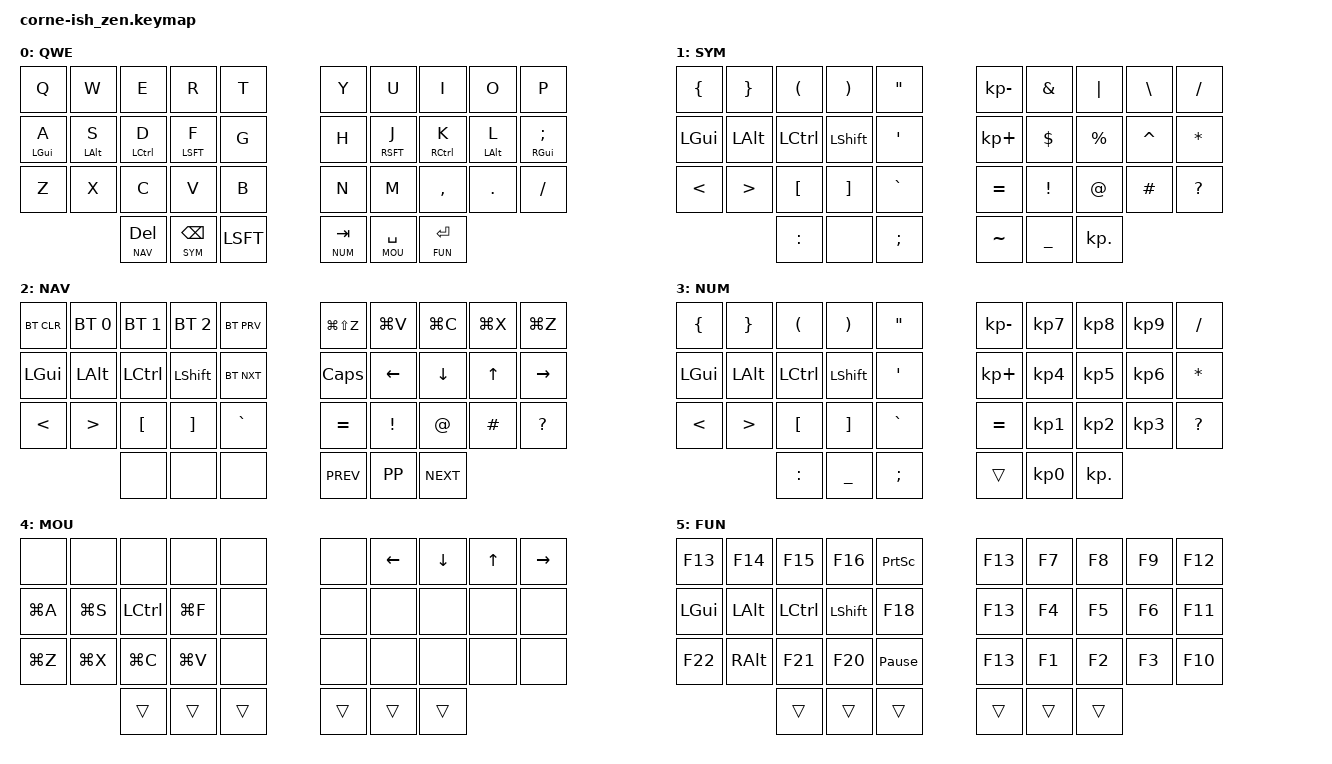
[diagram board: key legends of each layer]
/*
*
* Copyright (c) 2021 lowprokb.ca
* SPDX-License-Identifier: MIT
*
*/

#include <behaviors.dtsi>
#include <dt-bindings/zmk/keys.h>
#include <dt-bindings/zmk/bt.h>

#define QWE 0
#define SYM 1
#define NAV 2
#define NUM 3
#define MOU 4
#define FUN 5


&lt { quick_tap_ms = <300>; };


/ {
    chosen {
      zmk,matrix_transform = &five_column_transform;
    };
    combos {
        compatible = "zmk,combos";
        combo_lbrc {
            timeout-ms = <18>;
            key-positions = <0 1>;
            bindings = <&kp LBRC>;
            layers = <0 1>;
        };
        combo_lpar {
            timeout-ms = <17>;
            key-positions = <1 2>;
            bindings = <&kp LPAR>;
            layers = <0 1>;
        };
        combo_grave {
            timeout-ms = <17>;
            key-positions = <2 3>;
            bindings = <&kp GRAVE>;
            layers = <0 1>;
        };
        combo_underscore {
            timeout-ms = <17>;
            key-positions = <3 4>;
            bindings = <&kp UNDERSCORE>;
            layers = <0 1>;
        };
        combo_lt {
            timeout-ms = <17>;
            key-positions = <10 11>;
            bindings = <&kp LT>;
            layers = <0 1>;
        };
        combo_lbkt {
            timeout-ms = <17>;
            key-positions = <11 12>;
            bindings = <&kp LBKT>;
            layers = <0 1>;
        };
        combo_sqt {
            timeout-ms = <17>;
            key-positions = <12 13>;
            bindings = <&kp SQT>;
            layers = <0 1>;
        };
        combo_dqt {
            timeout-ms = <17>;
            key-positions = <13 14>;
            bindings = <&kp DQT>;
            layers = <0 1>;
        };
        combo_excl {
            timeout-ms = <17>;
            key-positions = <22 23>;
            bindings = <&kp EXCL>;
            layers = <0 1>;
        };
        combo_del {
            timeout-ms = <35>;
            key-positions = <13 31>;
            bindings = <&kp LA(BSPC)>;
            layers = <0 1>;
        };
        combo_deldel {
            timeout-ms = <35>;
            key-positions = <12 31>;
            bindings = <&kp LG(BSPC)>;
            layers = <0 1>;
        };
        combo_rbrc {
            timeout-ms = <17>;
            key-positions = <8 9>;
            bindings = <&kp RBRC>;
            layers = <0 1>;
        };
        combo_rpar {
            timeout-ms = <17>;
            key-positions = <7 8>;
            bindings = <&kp RPAR>;
            layers = <0 1>;
        };
        combo_slash {
            timeout-ms = <17>;
            key-positions = <6 7>;
            bindings = <&kp KP_SLASH>;
            layers = <0 1>;
        };
        combo_mimus {
            timeout-ms = <17>;
            key-positions = <5 6>;
            bindings = <&kp KP_MINUS>;
            layers = <0 1>;
        };
        combo_plus {
            timeout-ms = <17>;
            key-positions = <15 16>;
            bindings = <&kp KP_PLUS>;
            layers = <0 1>;
        };
        combo_asterisk {
            timeout-ms = <17>;
            key-positions = <16 17>;
            bindings = <&kp KP_ASTERISK>;
            layers = <0 1>;
        };
        combo_rbkt {
            timeout-ms = <17>;
            key-positions = <17 18>;
            bindings = <&kp RBKT>;
            layers = <0 1>;
        };
        combo_gt {
            timeout-ms = <17>;
            key-positions = <18 19>;
            bindings = <&kp GT>;
            layers = <0 1>;
        };
        combo_equal {
            timeout-ms = <17>;
            key-positions = <25 26>;
            bindings = <&kp EQUAL>;
            layers = <0 1>;
        };
        combo_qmark {
            timeout-ms = <17>;
            key-positions = <26 27>;
            bindings = <&kp QMARK>;
            layers = <0 1>;
        };
        combo_semicolon {
            timeout-ms = <17>;
            key-positions = <27 28>;
            bindings = <&kp SEMICOLON>;
            layers = <0 1>;
        };
        combo_colon {
            timeout-ms = <17>;
            key-positions = <28 29>;
            bindings = <&kp COLON>;
            layers = <0 1>;
        };
        combo_esc {
            timeout-ms = <35>;
            key-positions = <30 31>;
            bindings = <&kp ESC>;
            layers = <0 1>;
        };
        combo_caps {
            timeout-ms = <35>;
            key-positions = <31 32>;
            bindings = <&kp CAPS>;
            layers = <0 1>;
        };
        combo_lang {
            timeout-ms = <35>;
            key-positions = <34 35>;
            bindings = <&kp LC(SPACE)>;
            layers = <0 1>;
        };
        combo_alfred {
            timeout-ms = <17>;
            key-positions = <16 34>;
            bindings = <&kp LG(LBKT)>;
            layers = <0 1>;
        };


    };
    
    behaviors {
            hm: homerow_mods {
                compatible = "zmk,behavior-hold-tap";
                label = "HOMEROW_MODS";
                #binding-cells = <2>;
                tapping_term_ms = <250>;
                flavor = "tap-preferred";
                bindings = <&kp>, <&kp>;
            };

    };

    keymap {
        compatible = "zmk,keymap";

        default_layer {
            label = "QWE";
            bindings = <
&kp Q           &kp W           &kp E           &kp R           &kp T           &kp Y           &kp U           &kp I           &kp O           &kp P 
&hm LGUI A      &hm LALT S      &hm LCTL D      &hm LSFT F      &kp G           &kp H           &hm RSFT J      &hm RCTL K      &hm LALT L      &hm RGUI SEMICOLON 
&kp Z           &kp X           &kp C           &kp V           &kp B           &kp N           &kp M           &kp CMMA        &kp DOT         &kp FSLH  
                                                &lt NAV DEL       &lt SYM BKSP      &kp LSFT        &lt NUM TAB       &lt MOU SPC       &lt FUN ENTER
            >;
        };
        sym_layer {
            label = "SYM";
            bindings = <
&kp LBRC &kp RBRC  &kp LPAR  &kp RPAR  &kp DQT          &kp KP_MINUS    &kp AMPS        &kp PIPE        &kp BSLH   &kp SLASH
&kp LGUI &kp LALT &kp LCTRL &kp LSHFT &kp SQT &kp KP_PLUS &kp DLLR &kp PRCNT &kp CARET &kp ASTERISK
&kp LESS_THAN &kp GREATER_THAN &kp LBKT &kp RBKT &kp GRAVE &kp EQUAL &kp EXCL &kp AT &kp HASH &kp QMARK
                                                        &kp COLON       &none          &kp SEMICOLON   &kp TILDE       &kp UNDERSCORE  &kp KP_DOT
            >;
        };

        nav_layer {
            label = "NAV";
            bindings = <
&bt BT_CLR      &bt BT_SEL 0    &bt BT_SEL 1    &bt BT_SEL 2    &bt BT_PRV    &kp LG(LS(Z))   &kp LG(V)       &kp LG(C)       &kp LG(X)       &kp LG(Z)        
&kp LGUI        &kp LALT        &kp LCTRL       &kp LSHFT       &bt BT_NXT    &kp CAPS        &kp LEFT_ARROW  &kp DOWN_ARROW  &kp UP_ARROW    &kp RIGHT_ARROW
&kp LT      &kp GT          &kp LBKT        &kp RBKT        &kp GRAVE       &kp EQUAL       &kp EXCL        &kp AT     &kp HASH        &kp QUESTION
                                                &none          &none          &none          &kp K_PREV      &kp K_PP        &kp K_NEXT
            >;
        };

        num_layer {
            label = "NUM";
            bindings = <
&kp LBRC        &kp RBRC        &kp LPAR        &kp RPAR        &kp DQT         &kp KP_MINUS    &kp KP_N7       &kp KP_N8       &kp KP_N9       &kp SLASH
&kp LGUI        &kp LALT        &kp LCTRL       &kp LSHFT       &kp SQT         &kp KP_PLUS     &kp KP_N4       &kp KP_N5       &kp KP_N6       &kp ASTERISK
&kp LT          &kp GT          &kp LBKT        &kp RBKT        &kp GRAVE       &kp EQUAL       &kp KP_N1       &kp KP_N2       &kp KP_N3       &kp QUESTION  
                                                &kp COLON        &kp UNDERSCORE  &kp SEMICOLON   &trans          &kp KP_N0       &kp KP_DOT
            >;
        };

         mou_layer {
            label = "MOU";
            bindings = <
&none           &none           &none           &none           &none   &none   &kp LEFT_ARROW  &kp DOWN_ARROW  &kp UP_ARROW    &kp RIGHT_ARROW
&kp LG(A)       &kp LG(S)       &kp LCTRL       &kp LG(F)       &none   &none   &none   &none   &none   &none
&kp LG(Z)       &kp LG(X)       &kp LG(C)       &kp LG(V)       &none   &none   &none   &none   &none   &none
                                                &trans          &trans          &trans  &trans  &trans  &trans
            >;
        };
        
        fun_layer {
            label = "FUN";
            bindings = <
&kp F13         &kp F14         &kp F15         &kp F16         &kp PSCRN       &kp F13 &kp F7  &kp F8  &kp F9  &kp F12
&kp LGUI        &kp LALT        &kp LCTRL       &kp LSHFT       &kp F18         &kp F13 &kp F4  &kp F5  &kp F6  &kp F11
&kp F22         &kp RALT        &kp F21         &kp F20         &kp PAUSE_BREAK &kp F13 &kp F1  &kp F2  &kp F3  &kp F10 
                                                &trans          &trans          &trans          &trans  &trans  &trans
            >;
        };

    };
};

